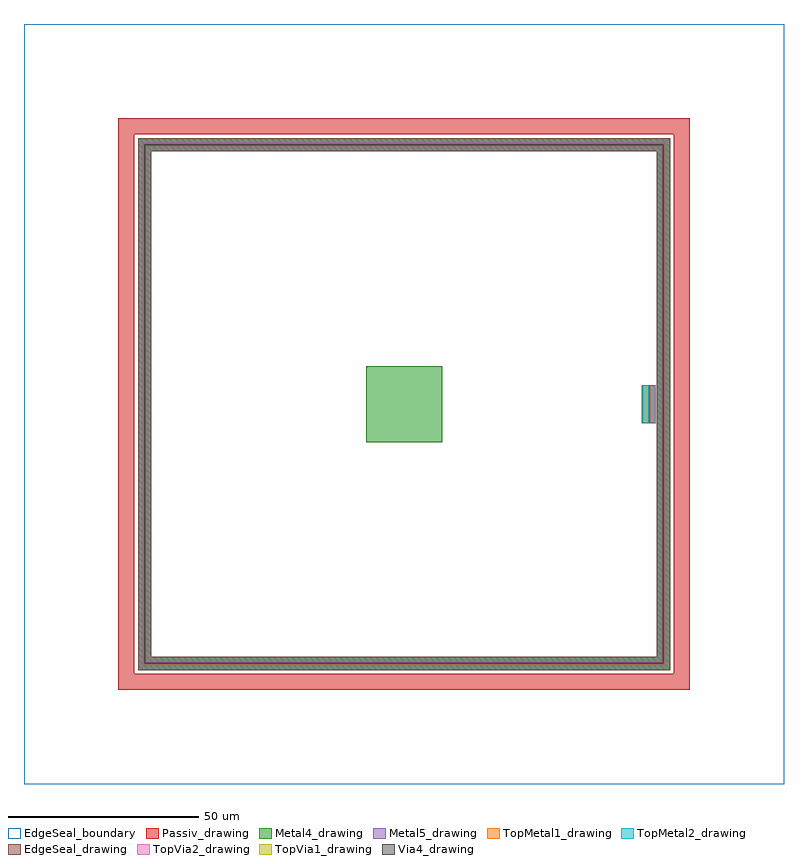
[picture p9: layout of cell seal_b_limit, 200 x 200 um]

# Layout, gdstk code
import gdstk
lib = gdstk.Library(unit=1e-6, precision=1e-09)
def R(c, l, rs):  # rectangles x0, y0, x1, y1
    for r in rs: c.add(gdstk.rectangle(r[:2], r[2:], *l))
def P(c, l, *ps):  # polygons
    for p in ps: c.add(gdstk.Polygon(p, *l))
Passiv_drawing = (9, 0)
EdgeSeal_drawing = (39, 0)
EdgeSeal_boundary = (39, 4)
Metal4_drawing = (50, 0)
Via4_drawing = (66, 0)
Metal5_drawing = (67, 0)
TopVia1_drawing = (125, 0)
TopMetal1_drawing = (126, 0)
TopVia2_drawing = (133, 0)
TopMetal2_drawing = (134, 0)

seal_b_limit = lib.new_cell('seal_b_limit')
P(seal_b_limit, Passiv_drawing, [(24.8,24.8),(24.8,171),(29,171),(29,29),(171,29),(171,171),(24.8,171),(24.8,175.2),(175.2,175.2),(175.2,24.8)])
P(seal_b_limit, EdgeSeal_drawing, [(30,30),(30,166.5),(33.5,166.5),(33.5,33.5),(166.5,33.5),(166.5,166.5),(30,166.5),(30,170),(170,170),(170,30)])
R(seal_b_limit, EdgeSeal_boundary, [(0,0,200,200)])
R(seal_b_limit, Metal4_drawing, [(90,90,110,110), (164.29,95,166.29,105)])
P(seal_b_limit, Metal4_drawing, [(30,30),(30,166.5),(33.5,166.5),(33.5,33.5),(166.5,33.5),(166.5,166.5),(30,166.5),(30,170),(170,170),(170,30)])
P(seal_b_limit, Via4_drawing, [(31.655,31.655),(31.655,168.155),(31.845,168.155),(31.845,31.845),(168.155,31.845),(168.155,168.155),(31.655,168.155),(31.655,168.345),(168.345,168.345),(168.345,31.655)])
R(seal_b_limit, Metal5_drawing, [(164.29,95,166.29,105)])
P(seal_b_limit, Metal5_drawing, [(30,30),(30,166.5),(33.5,166.5),(33.5,33.5),(166.5,33.5),(166.5,166.5),(30,166.5),(30,170),(170,170),(170,30)])
P(seal_b_limit, TopVia1_drawing, [(31.54,31.54),(31.54,168.04),(31.96,168.04),(31.96,31.96),(168.04,31.96),(168.04,168.04),(31.54,168.04),(31.54,168.46),(168.46,168.46),(168.46,31.54)])
R(seal_b_limit, TopMetal1_drawing, [(162.86,95,164.86,105)])
P(seal_b_limit, TopMetal1_drawing, [(30,30),(30,166.5),(33.5,166.5),(33.5,33.5),(166.5,33.5),(166.5,166.5),(30,166.5),(30,170),(170,170),(170,30)])
P(seal_b_limit, TopVia2_drawing, [(31.3,31.3),(31.3,167.8),(32.2,167.8),(32.2,32.2),(167.8,32.2),(167.8,167.8),(31.3,167.8),(31.3,168.7),(168.7,168.7),(168.7,31.3)])
R(seal_b_limit, TopMetal2_drawing, [(162.5,95,164.5,105)])
P(seal_b_limit, TopMetal2_drawing, [(30,30),(30,166.5),(33.5,166.5),(33.5,33.5),(166.5,33.5),(166.5,166.5),(30,166.5),(30,170),(170,170),(170,30)])

lib.write_gds('seal_b_limit.gds')
